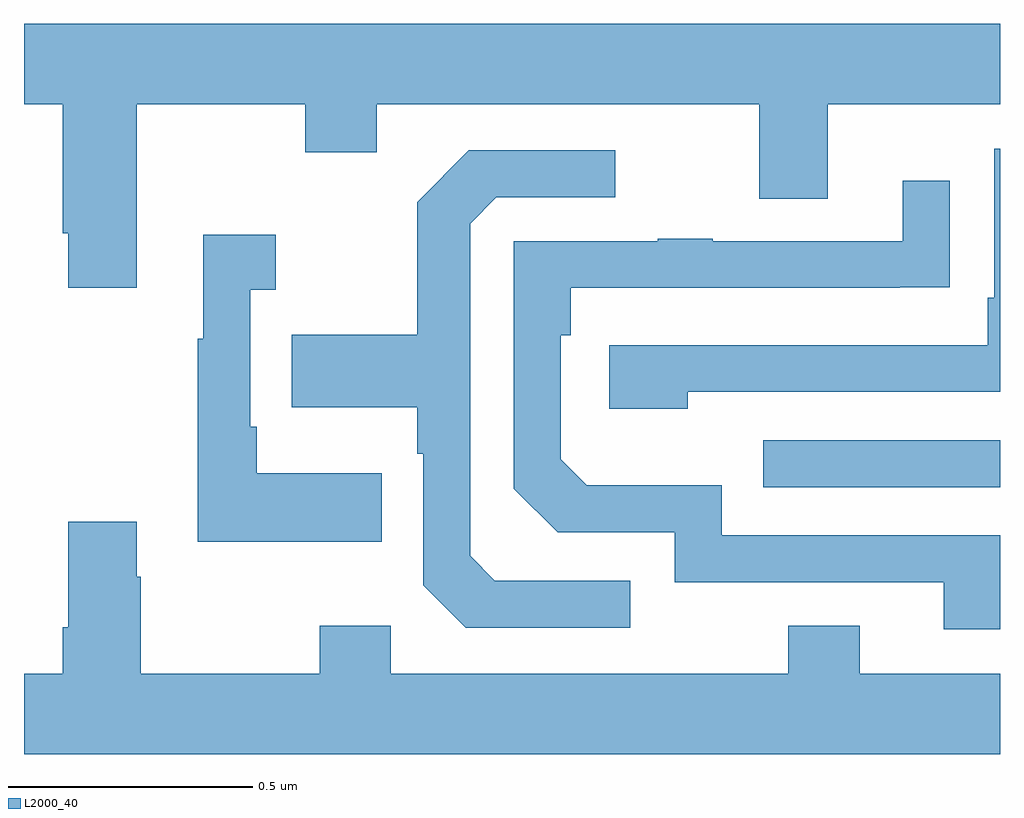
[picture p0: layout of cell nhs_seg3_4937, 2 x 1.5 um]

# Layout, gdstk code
import gdstk
lib = gdstk.Library(unit=1e-6, precision=1e-09)
def R(c, l, rs):  # rectangles x0, y0, x1, y1
    for r in rs: c.add(gdstk.rectangle(r[:2], r[2:], *l))
def P(c, l, *ps):  # polygons
    for p in ps: c.add(gdstk.Polygon(p, *l))
L2000_40 = (2000, 40)

nhs_seg3_4937 = lib.new_cell('nhs_seg3_4937')
R(nhs_seg3_4937, L2000_40, [(173.515,729.435,174,729.531)])
P(nhs_seg3_4937, L2000_40, [(172.231,730.22),(172.576,730.22),(172.576,730.121),(172.723,730.121),(172.723,730.22),(173.507,730.22),(173.507,730.026),(173.647,730.026),(173.647,730.22),(174,730.22),(174,730.384),(172,730.384),(172,730.22),(172.079,730.22),(172.079,729.955),(172.091,729.955),(172.091,729.843),(172.231,729.843)],
  [(173.36,729.63),(174,729.63),(174,730.128),(173.988,730.128),(173.988,729.823),(173.975,729.823),(173.975,729.726),(173.199,729.726),(173.199,729.596),(173.36,729.596)],
  [(173.242,729.243),(172.965,729.243),(172.914,729.294),(172.914,729.975),(172.968,730.029),(173.212,730.029),(173.212,730.125),(172.911,730.125),(172.806,730.019),(172.806,729.747),(172.549,729.747),(172.549,729.599),(172.806,729.599),(172.806,729.503),(172.818,729.503),(172.818,729.234),(172.905,729.147),(173.242,729.147)],
  [(174,729.336),(173.43,729.336),(173.43,729.439),(173.153,729.439),(173.1,729.492),(173.1,729.746),(173.12,729.746),(173.12,729.843),(173.795,729.843),(173.795,729.844),(173.897,729.844),(173.897,730.063),(173.801,730.063),(173.801,729.939),(173.411,729.939),(173.411,729.944),(173.299,729.944),(173.299,729.939),(173.004,729.939),(173.004,729.432),(173.094,729.342),(173.334,729.342),(173.334,729.24),(173.885,729.24),(173.885,729.144),(174,729.144)],
  [(172.733,729.463),(172.477,729.463),(172.477,729.559),(172.464,729.559),(172.464,729.839),(172.516,729.839),(172.516,729.952),(172.367,729.952),(172.367,729.739),(172.356,729.739),(172.356,729.323),(172.733,729.323)],
  [(174,729.052),(173.713,729.052),(173.713,729.151),(173.566,729.151),(173.566,729.052),(172.752,729.052),(172.752,729.151),(172.606,729.151),(172.606,729.052),(172.239,729.052),(172.239,729.251),(172.231,729.251),(172.231,729.364),(172.091,729.364),(172.091,729.148),(172.079,729.148),(172.079,729.052),(172,729.052),(172,728.888),(174,728.888)])

lib.write_gds('nhs_seg3_4937.gds')
